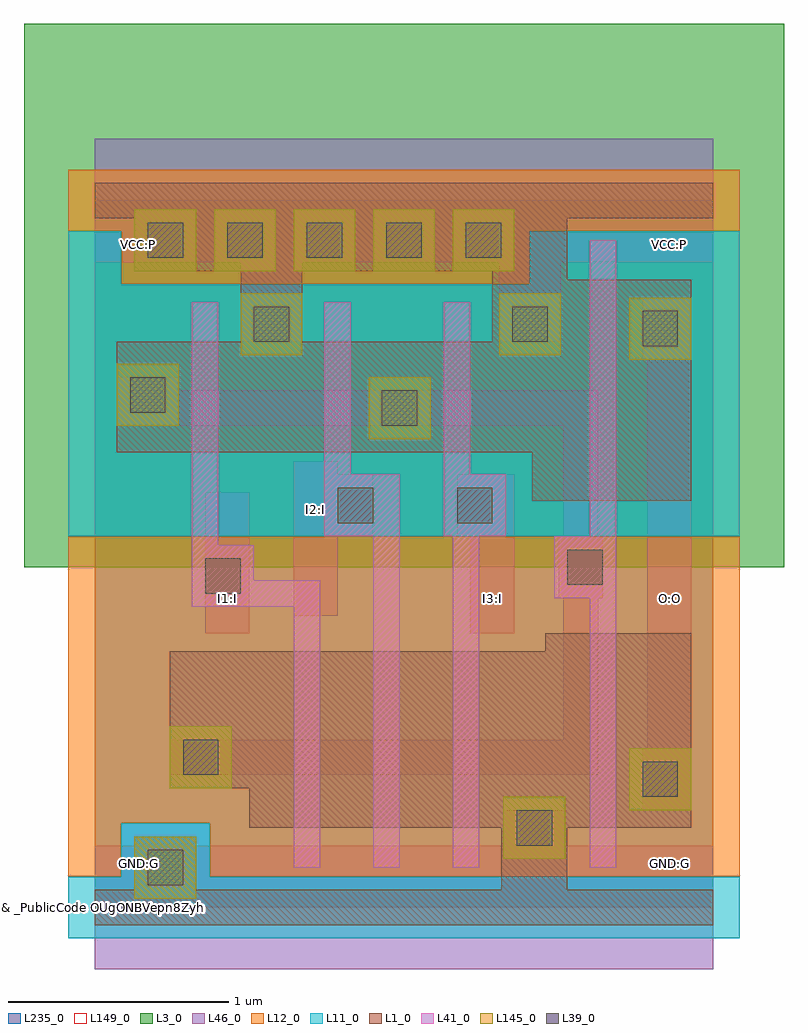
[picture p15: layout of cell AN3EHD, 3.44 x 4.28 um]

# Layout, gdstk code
from math import pi, radians
import gdstk
lib = gdstk.Library(unit=1e-6, precision=1e-09)
def R(c, l, rs):  # rectangles x0, y0, x1, y1
    for r in rs: c.add(gdstk.rectangle(r[:2], r[2:], *l))
def P(c, l, *ps):  # polygons
    for p in ps: c.add(gdstk.Polygon(p, *l))
L1_0 = (1, 0)
L3_0 = (3, 0)
L11_0 = (11, 0)
L12_0 = (12, 0)
L39_0 = (39, 0)
L41_0 = (41, 0)
L46_0 = (46, 0)
L145_0 = (145, 0)
L149_0 = (149, 0)
L235_0 = (235, 0)

c_pc = lib.new_cell('PC')
R(c_pc, L39_0, [(-0.08,-0.08,0.08,0.08)])
R(c_pc, L41_0, [(-0.14,-0.14,0.14,0.14)])
R(c_pc, L46_0, [(-0.08,-0.14,0.08,0.14)])

c_mc = lib.new_cell('MC')
R(c_mc, L39_0, [(-0.08,-0.08,0.08,0.08)])
R(c_mc, L46_0, [(-0.08,-0.14,0.08,0.14)])
R(c_mc, L145_0, [(-0.14,-0.14,0.14,0.14)])

ohlenmmflfb__41gum4xw0 = lib.new_cell('OHLENMMFLFB$$41Gum4XW0')
R(ohlenmmflfb__41gum4xw0, L1_0, [(0,-0.08,2.8,0.08), (0.18,0.08,0.46,0.32), (0.1,2.06,0.66,2.56), (0,3.12,2.8,3.28)])
P(ohlenmmflfb__41gum4xw0, L1_0, [(2.7,1.24),(2.04,1.24),(2.04,1.16),(1.84,1.16),(1.84,0.08),(2.14,0.08),(2.14,0.36),(2.7,0.36)],
  [(1.84,1.16),(0.34,1.16),(0.34,0.54),(0.7,0.54),(0.7,0.36),(1.84,0.36)],
  [(2.7,2.84),(2.14,2.84),(2.14,3.12),(1.8,3.12),(1.8,2.56),(0.94,2.56),(0.94,2.88),(1.8,2.88),(1.8,3.12),(0.18,3.12),(0.18,2.88),(0.66,2.88),(0.66,2.06),(1.98,2.06),(1.98,1.84),(2.7,1.84)])
R(ohlenmmflfb__41gum4xw0, L3_0, [(-0.32,1.54,3.12,4)])
R(ohlenmmflfb__41gum4xw0, L11_0, [(-0.12,-0.14,2.92,0.14), (-0.12,-0.14,2.92,0.14), (0.12,0.14,0.52,0.38)])
P(ohlenmmflfb__41gum4xw0, L11_0, [(2.92,3.06),(1.97,3.06),(1.97,2.82),(0.12,2.82),(0.12,3.06),(-0.12,3.06),(-0.12,1.68),(2.92,1.68)])
R(ohlenmmflfb__41gum4xw0, L12_0, [(0.12,2.82,1.97,3.06), (-0.12,3.06,2.92,3.34)])
P(ohlenmmflfb__41gum4xw0, L12_0, [(2.92,1.68),(-0.12,1.68),(-0.12,0.14),(0.12,0.14),(0.12,0.38),(0.52,0.38),(0.52,0.14),(2.92,0.14)])
R(ohlenmmflfb__41gum4xw0, L46_0, [(2.1,1.4,2.3,1.68), (0.66,2.56,0.94,2.92), (1.83,2.56,2.11,2.92)])
R(ohlenmmflfb__41gum4xw0, L149_0, [(0,0,2.8,3.2)])
R(ohlenmmflfb__41gum4xw0, L235_0, [(0,0,2.8,3.2), (0,0,2.8,3.2), (0,0,2.8,3.2), (0,0,2.8,3.2), (0,0,2.8,3.2), (0,0,2.8,3.2), (0,0,2.8,3.2), (0,0,2.8,3.2), (0,0,2.8,3.2), (0,0,2.8,3.2), (0,0,2.8,3.2), (0,0,2.8,3.2)])
ohlenmmflfb__41gum4xw0.add(gdstk.FlexPath([(0,0),(2.8,0)], 0.56, ends="flush", simple_path=True, layer=46, datatype=0))  # L46_0
ohlenmmflfb__41gum4xw0.add(gdstk.FlexPath([(0,3.2),(2.8,3.2)], 0.56, ends="flush", simple_path=True, layer=46, datatype=0))  # L46_0
ohlenmmflfb__41gum4xw0.add(gdstk.FlexPath([(1.8,1.24),(1.8,1.96)], 0.2, ends="flush", simple_path=True, layer=46, datatype=0))  # L46_0
ohlenmmflfb__41gum4xw0.add(gdstk.FlexPath([(1,1.32),(1,2.02)], 0.2, ends="flush", simple_path=True, layer=46, datatype=0))  # L46_0
ohlenmmflfb__41gum4xw0.add(gdstk.FlexPath([(0.6,1.24),(0.6,1.88)], 0.2, ends="flush", simple_path=True, layer=46, datatype=0))  # L46_0
ohlenmmflfb__41gum4xw0.add(gdstk.FlexPath([(2.6,0.44),(2.6,2.76)], 0.2, ends="flush", simple_path=True, layer=46, datatype=0))  # L46_0
ohlenmmflfb__41gum4xw0.add(gdstk.FlexPath([(0.1,2.26),(2.2,2.26),(2.2,0.68),(0.34,0.68)], 0.16, ends="flush", simple_path=True, layer=46, datatype=0))  # L46_0
ohlenmmflfb__41gum4xw0.add(gdstk.FlexPath([(0.2,0),(0.2,3.2)], 0, ends="flush", simple_path=True, layer=145, datatype=0))  # L145_0
ohlenmmflfb__41gum4xw0.add(gdstk.FlexPath([(0.6,0),(0.6,3.2)], 0, ends="flush", simple_path=True, layer=145, datatype=0))  # L145_0
ohlenmmflfb__41gum4xw0.add(gdstk.FlexPath([(1,0),(1,3.2)], 0, ends="flush", simple_path=True, layer=145, datatype=0))  # L145_0
ohlenmmflfb__41gum4xw0.add(gdstk.FlexPath([(1.4,0),(1.4,3.2)], 0, ends="flush", simple_path=True, layer=145, datatype=0))  # L145_0
ohlenmmflfb__41gum4xw0.add(gdstk.FlexPath([(1.8,0),(1.8,3.2)], 0, ends="flush", simple_path=True, layer=145, datatype=0))  # L145_0
ohlenmmflfb__41gum4xw0.add(gdstk.FlexPath([(2.2,0),(2.2,3.2)], 0, ends="flush", simple_path=True, layer=145, datatype=0))  # L145_0
ohlenmmflfb__41gum4xw0.add(gdstk.FlexPath([(2.6,0),(2.6,3.2)], 0, ends="flush", simple_path=True, layer=145, datatype=0))  # L145_0
ohlenmmflfb__41gum4xw0.add(gdstk.FlexPath([(0,0.2),(2.8,0.2)], 0, ends="flush", simple_path=True, layer=145, datatype=0))  # L145_0
ohlenmmflfb__41gum4xw0.add(gdstk.FlexPath([(0,0.6),(2.8,0.6)], 0, ends="flush", simple_path=True, layer=145, datatype=0))  # L145_0
ohlenmmflfb__41gum4xw0.add(gdstk.FlexPath([(0,1),(2.8,1)], 0, ends="flush", simple_path=True, layer=145, datatype=0))  # L145_0
ohlenmmflfb__41gum4xw0.add(gdstk.FlexPath([(0,1.4),(2.8,1.4)], 0, ends="flush", simple_path=True, layer=145, datatype=0))  # L145_0
ohlenmmflfb__41gum4xw0.add(gdstk.FlexPath([(0,1.8),(2.8,1.8)], 0, ends="flush", simple_path=True, layer=145, datatype=0))  # L145_0
ohlenmmflfb__41gum4xw0.add(gdstk.FlexPath([(0,2.2),(2.8,2.2)], 0, ends="flush", simple_path=True, layer=145, datatype=0))  # L145_0
ohlenmmflfb__41gum4xw0.add(gdstk.FlexPath([(0,2.6),(2.8,2.6)], 0, ends="flush", simple_path=True, layer=145, datatype=0))  # L145_0
ohlenmmflfb__41gum4xw0.add(gdstk.FlexPath([(0,3),(2.8,3)], 0, ends="flush", simple_path=True, layer=145, datatype=0))  # L145_0
ohlenmmflfb__41gum4xw0.add(gdstk.FlexPath([(1.64,2.74),(1.64,1.74),(1.68,1.74),(1.68,0.18)], 0.12, ends="flush", simple_path=True, layer=41, datatype=0))  # L41_0
ohlenmmflfb__41gum4xw0.add(gdstk.FlexPath([(1.1,2.74),(1.1,1.9),(1.32,1.9),(1.32,0.18)], 0.12, ends="flush", simple_path=True, layer=41, datatype=0))  # L41_0
ohlenmmflfb__41gum4xw0.add(gdstk.FlexPath([(0.5,2.74),(0.5,1.42),(0.96,1.42),(0.96,0.18)], 0.12, ends="flush", simple_path=True, layer=41, datatype=0))  # L41_0
ohlenmmflfb__41gum4xw0.add(gdstk.FlexPath([(2.3,0.18),(2.3,3.02)], 0.12, ends="flush", simple_path=True, layer=41, datatype=0))  # L41_0
r = gdstk.Reference(c_pc, (1.18,1.82)); r.repetition = gdstk.Repetition(1, 1, v1=(0.28,0), v2=(0,0.32)); ohlenmmflfb__41gum4xw0.add(r)
r = gdstk.Reference(c_pc, (2.22,1.54)); r.repetition = gdstk.Repetition(1, 1, v1=(0.28,0), v2=(0,0.32)); ohlenmmflfb__41gum4xw0.add(r)
r = gdstk.Reference(c_pc, (0.58,1.5)); r.repetition = gdstk.Repetition(1, 1, v1=(0.28,0), v2=(0,0.32)); ohlenmmflfb__41gum4xw0.add(r)
r = gdstk.Reference(c_pc, (1.72,1.82)); r.repetition = gdstk.Repetition(1, 1, v1=(0.28,0), v2=(0,0.32)); ohlenmmflfb__41gum4xw0.add(r)
r = gdstk.Reference(c_mc, (2.56,2.62)); r.repetition = gdstk.Repetition(1, 1, v1=(0.28,0), v2=(0,0.32)); ohlenmmflfb__41gum4xw0.add(r)
r = gdstk.Reference(c_mc, (1.4,3.02), rotation=pi/2); r.repetition = gdstk.Repetition(1, 1, v1=(0,0.28), v2=(-0.32,0)); ohlenmmflfb__41gum4xw0.add(r)
r = gdstk.Reference(c_mc, (0.48,0.68), rotation=pi/2); r.repetition = gdstk.Repetition(1, 1, v1=(0,0.28), v2=(-0.32,0)); ohlenmmflfb__41gum4xw0.add(r)
r = gdstk.Reference(c_mc, (2.56,0.58)); r.repetition = gdstk.Repetition(1, 1, v1=(0.28,0), v2=(0,0.32)); ohlenmmflfb__41gum4xw0.add(r)
r = gdstk.Reference(c_mc, (1.99,0.36), rotation=pi/2); r.repetition = gdstk.Repetition(1, 1, v1=(0,0.28), v2=(-0.32,0)); ohlenmmflfb__41gum4xw0.add(r)
r = gdstk.Reference(c_mc, (1.97,2.64), rotation=pi/2); r.repetition = gdstk.Repetition(1, 1, v1=(0,0.28), v2=(-0.32,0)); ohlenmmflfb__41gum4xw0.add(r)
r = gdstk.Reference(c_mc, (0.24,2.32), rotation=pi/2); r.repetition = gdstk.Repetition(1, 1, v1=(0,0.28), v2=(-0.32,0)); ohlenmmflfb__41gum4xw0.add(r)
r = gdstk.Reference(c_mc, (0.8,2.64), rotation=pi/2); r.repetition = gdstk.Repetition(1, 1, v1=(0,0.28), v2=(-0.32,0)); ohlenmmflfb__41gum4xw0.add(r)
r = gdstk.Reference(c_mc, (0.32,3.02), rotation=pi/2); r.repetition = gdstk.Repetition(1, 1, v1=(0,0.28), v2=(-0.32,0)); ohlenmmflfb__41gum4xw0.add(r)
r = gdstk.Reference(c_mc, (1.76,3.02), rotation=pi/2); r.repetition = gdstk.Repetition(1, 1, v1=(0,0.28), v2=(-0.32,0)); ohlenmmflfb__41gum4xw0.add(r)
r = gdstk.Reference(c_mc, (1.04,3.02), rotation=pi/2); r.repetition = gdstk.Repetition(1, 1, v1=(0,0.28), v2=(-0.32,0)); ohlenmmflfb__41gum4xw0.add(r)
r = gdstk.Reference(c_mc, (0.32,0.18), rotation=pi/2, x_reflection=True); r.repetition = gdstk.Repetition(1, 1, v1=(0,0.28), v2=(0.32,0)); ohlenmmflfb__41gum4xw0.add(r)
r = gdstk.Reference(c_mc, (0.68,3.02), rotation=pi/2); r.repetition = gdstk.Repetition(1, 1, v1=(0,0.28), v2=(-0.32,0)); ohlenmmflfb__41gum4xw0.add(r)
r = gdstk.Reference(c_mc, (1.38,2.26), rotation=pi/2); r.repetition = gdstk.Repetition(1, 1, v1=(0,0.28), v2=(-0.32,0)); ohlenmmflfb__41gum4xw0.add(r)
ohlenmmflfb__41gum4xw0.add(gdstk.Label('#Id:7JQJaQKD4XF6RXVVYbbMNLABMd9HZL9aK99JL0306AKC574T4A3EOSP8MXXWHY99T6WBH22210RAL9', (0.02,0.02), layer=147, texttype=0))
ohlenmmflfb__41gum4xw0.add(gdstk.Label('AN3EHD', (0,0), layer=144, texttype=0))
ohlenmmflfb__41gum4xw0.add(gdstk.Label('I3:I', (1.8,1.4), layer=101, texttype=0))
ohlenmmflfb__41gum4xw0.add(gdstk.Label('VCC:P', (0.2,3), layer=101, texttype=0))
ohlenmmflfb__41gum4xw0.add(gdstk.Label('VCC:P', (2.6,3), layer=101, texttype=0))
ohlenmmflfb__41gum4xw0.add(gdstk.Label('GND:G', (0.2,0.2), layer=101, texttype=0))
ohlenmmflfb__41gum4xw0.add(gdstk.Label('GND:G', (2.6,0.2), layer=101, texttype=0))
ohlenmmflfb__41gum4xw0.add(gdstk.Label('I1:I', (0.6,1.4), layer=101, texttype=0))
ohlenmmflfb__41gum4xw0.add(gdstk.Label('O:O', (2.6,1.4), layer=101, texttype=0))
ohlenmmflfb__41gum4xw0.add(gdstk.Label('I2:I', (1,1.8), layer=101, texttype=0))

an3ehd = lib.new_cell('AN3EHD')
R(an3ehd, L149_0, [(0,0,2.8,3.2)])
an3ehd.add(gdstk.Reference(ohlenmmflfb__41gum4xw0, (0,0)))
an3ehd.add(gdstk.Label('& _PublicCode OUgONBVepn8Zyhuhb7nzKSFGv0ozQ4p7', (0,0), layer=3, texttype=0))
an3ehd.add(gdstk.Label('& Metric 8.96', (0,0), layer=3, texttype=0))
an3ehd.add(gdstk.Label('& Version 2009Q1V3.0', (0,0), layer=3, texttype=0))
an3ehd.add(gdstk.Label('& Product FSC0H_D_GENERIC_CORE', (0,0), layer=3, texttype=0))
an3ehd.add(gdstk.Label('& Vendor Faraday_Technology_Corp.', (0,0), layer=3, texttype=0))
an3ehd.add(gdstk.Label('#Id:7JQJaQKD4XF6RXVVYbbMNLABMd9HZL9aK99JL0306AKC574T4A3EOSP8MXXWHY99T6WBH22210RAL9', (0.02,0.02), layer=147, texttype=0))
an3ehd.add(gdstk.Label('AN3EHD', (0,0), layer=144, texttype=0))
an3ehd.add(gdstk.Label('I3:I', (1.8,1.4), layer=101, texttype=0))
an3ehd.add(gdstk.Label('VCC:P', (0.2,3), layer=101, texttype=0))
an3ehd.add(gdstk.Label('VCC:P', (2.6,3), layer=101, texttype=0))
an3ehd.add(gdstk.Label('GND:G', (0.2,0.2), layer=101, texttype=0))
an3ehd.add(gdstk.Label('GND:G', (2.6,0.2), layer=101, texttype=0))
an3ehd.add(gdstk.Label('I1:I', (0.6,1.4), layer=101, texttype=0))
an3ehd.add(gdstk.Label('O:O', (2.6,1.4), layer=101, texttype=0))
an3ehd.add(gdstk.Label('I2:I', (1,1.8), layer=101, texttype=0))

lib.write_gds('AN3EHD.gds')
